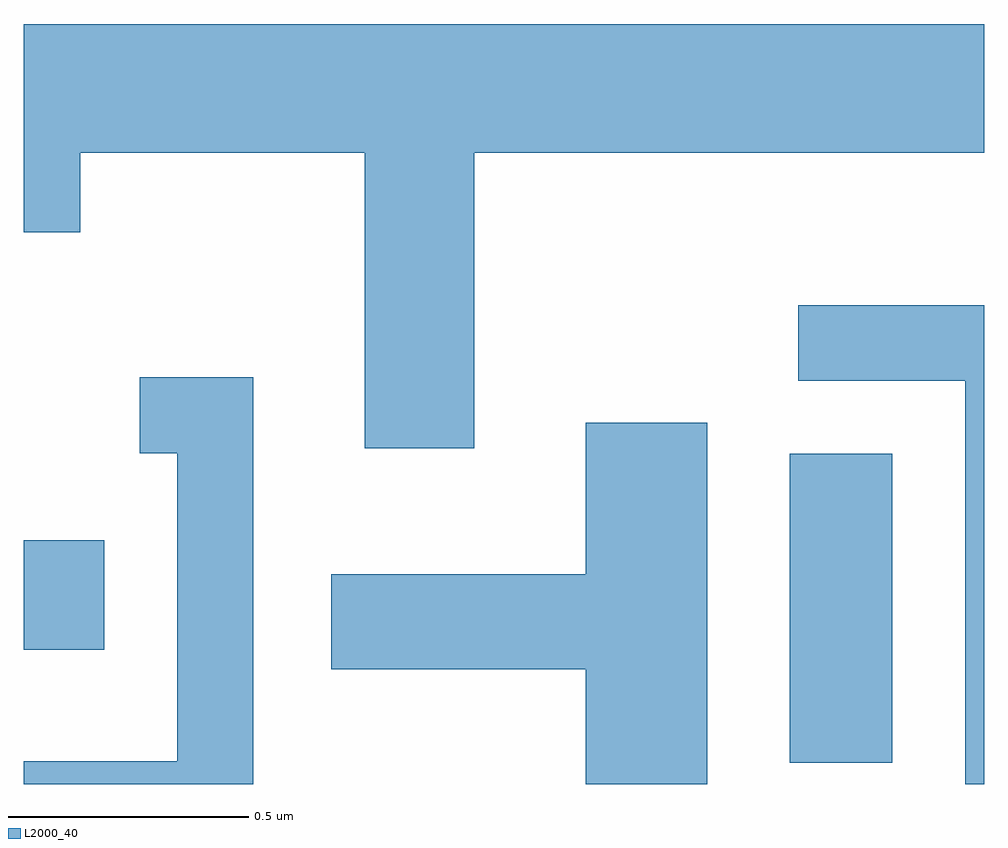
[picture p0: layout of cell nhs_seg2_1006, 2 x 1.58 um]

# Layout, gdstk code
import gdstk
lib = gdstk.Library(unit=1e-6, precision=1e-09)
def R(c, l, rs):  # rectangles x0, y0, x1, y1
    for r in rs: c.add(gdstk.rectangle(r[:2], r[2:], *l))
def P(c, l, *ps):  # polygons
    for p in ps: c.add(gdstk.Polygon(p, *l))
L2000_40 = (2000, 40)

nhs_seg2_1006 = lib.new_cell('nhs_seg2_1006')
R(nhs_seg2_1006, L2000_40, [(194.206,1024.846,194.419,1025.489), (192.611,1025.081,192.779,1025.309)])
P(nhs_seg2_1006, L2000_40, [(193.549,1026.116),(194.611,1026.116),(194.611,1026.384),(192.611,1026.384),(192.611,1025.951),(192.729,1025.951),(192.729,1026.116),(193.321,1026.116),(193.321,1025.501),(193.549,1025.501)],
  [(194.611,1025.799),(194.223,1025.799),(194.223,1025.641),(194.571,1025.641),(194.571,1024.802),(194.611,1024.802)],
  [(193.089,1025.649),(192.853,1025.649),(192.853,1025.491),(192.931,1025.491),(192.931,1024.849),(192.611,1024.849),(192.611,1024.802),(193.089,1024.802)],
  [(194.034,1025.554),(193.781,1025.554),(193.781,1025.239),(193.251,1025.239),(193.251,1025.041),(193.781,1025.041),(193.781,1024.802),(194.034,1024.802)])

lib.write_gds('nhs_seg2_1006.gds')
